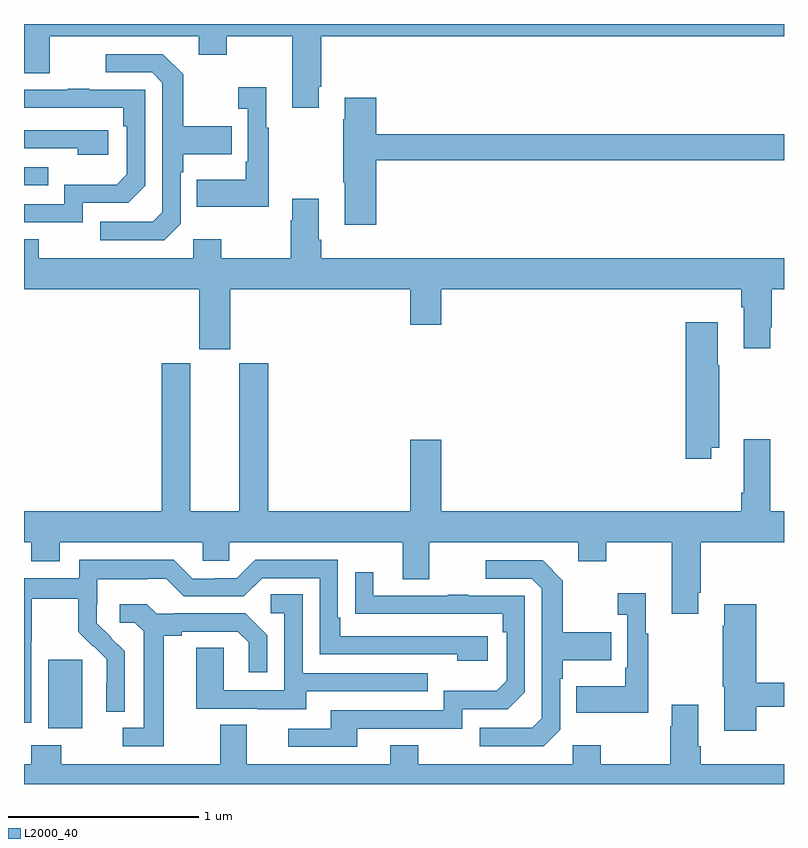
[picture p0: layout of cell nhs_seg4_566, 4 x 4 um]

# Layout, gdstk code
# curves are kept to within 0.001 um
import gdstk
lib = gdstk.Library(unit=1e-6, precision=1e-09)
def R(c, l, rs):  # rectangles x0, y0, x1, y1
    for r in rs: c.add(gdstk.rectangle(r[:2], r[2:], *l))
def P(c, l, *ps):  # polygons
    for p in ps: c.add(gdstk.Polygon(p, *l))
L2000_40 = (2000, 40)

nhs_seg4_566 = lib.new_cell('nhs_seg4_566')
R(nhs_seg4_566, L2000_40, [(139.127,777.194,139.306,777.555), (139,780.051,139.127,780.147)])
P(nhs_seg4_566, L2000_40, [(143,780.9),(139,780.9),(139,780.642),(139.135,780.642),(139.135,780.836),(139.919,780.836),(139.919,780.737),(140.067,780.737),(140.067,780.836),(140.411,780.836),(140.411,780.459),(140.551,780.459),(140.551,780.571),(140.564,780.571),(140.564,780.836),(143,780.836)],
  [(139.824,779.85),(139.824,780.119),(139.837,780.119),(139.837,780.215),(140.093,780.215),(140.093,780.363),(139.837,780.363),(139.837,780.635),(139.731,780.741),(139.431,780.741),(139.431,780.645),(139.674,780.645),(139.728,780.591),(139.728,779.91),(139.677,779.859),(139.401,779.859),(139.401,779.763),(139.737,779.763)],
  [(140.287,780.355),(140.275,780.355),(140.275,780.568),(140.127,780.568),(140.127,780.455),(140.178,780.455),(140.178,780.175),(140.166,780.175),(140.166,780.079),(139.909,780.079),(139.909,779.939),(140.287,779.939)],
  [(139.308,779.958),(139.548,779.958),(139.638,780.048),(139.638,780.555),(139.343,780.555),(139.343,780.56),(139.231,780.56),(139.231,780.555),(139,780.555),(139,780.459),(139.522,780.459),(139.522,780.362),(139.542,780.362),(139.542,780.108),(139.489,780.055),(139.212,780.055),(139.212,779.952),(139,779.952),(139,779.856),(139.308,779.856)],
  [(140.855,780.184),(143,780.184),(143,780.32),(140.855,780.32),(140.855,780.511),(140.687,780.511),(140.687,780.398),(140.68,780.398),(140.68,780.067),(140.687,780.067),(140.687,779.844),(140.855,779.844)],
  [(139.444,780.342),(139,780.342),(139,780.246),(139.283,780.246),(139.283,780.212),(139.444,780.212)],
  [(140.086,779.504),(141.032,779.504),(141.032,779.316),(141.196,779.316),(141.196,779.504),(142.775,779.504),(142.775,779.408),(142.787,779.408),(142.787,779.193),(142.927,779.193),(142.927,779.305),(142.935,779.305),(142.935,779.504),(143,779.504),(143,779.668),(140.564,779.668),(140.564,779.764),(140.551,779.764),(140.551,779.98),(140.411,779.98),(140.411,779.867),(140.404,779.867),(140.404,779.668),(140.037,779.668),(140.037,779.767),(139.89,779.767),(139.89,779.668),(139.077,779.668),(139.077,779.767),(139,779.767),(139,779.504),(139.922,779.504),(139.922,779.187),(140.086,779.187)],
  [(142.618,778.67),(142.659,778.67),(142.659,779.105),(142.651,779.105),(142.651,779.329),(142.484,779.329),(142.484,778.611),(142.618,778.611)],
  [(142.549,777.907),(142.562,777.907),(142.562,778.172),(143,778.172),(143,778.336),(142.927,778.336),(142.927,778.714),(142.787,778.714),(142.787,778.432),(142.775,778.432),(142.775,778.336),(141.196,778.336),(141.196,778.711),(141.032,778.711),(141.032,778.336),(140.285,778.336),(140.285,779.115),(140.132,779.115),(140.132,778.336),(139.876,778.336),(139.876,779.115),(139.724,779.115),(139.724,778.336),(139,778.336),(139,778.172),(139.037,778.172),(139.037,778.073),(139.189,778.073),(139.189,778.172),(139.941,778.172),(139.941,778.074),(140.079,778.074),(140.079,778.172),(140.993,778.172),(140.993,777.978),(141.133,777.978),(141.133,778.172),(141.917,778.172),(141.917,778.073),(142.065,778.073),(142.065,778.172),(142.409,778.172),(142.409,777.795),(142.549,777.795)],
  [(139.038,777.652),(139.041,777.652),(139.041,777.876),(139.285,777.876),(139.285,777.701),(139.362,777.624),(139.365,777.627),(139.436,777.557),(139.436,777.434),(139.434,777.434),(139.434,777.28),(139.53,777.28),(139.53,777.598),(139.384,777.746),(139.384,777.843),(139.386,777.843),(139.386,777.977),(139.649,777.977),(139.649,777.981),(139.749,777.981),(139.842,777.888),(140.157,777.888),(140.253,777.984),(140.556,777.984),(140.556,777.582),(141.281,777.582),(141.281,777.548),(141.442,777.548),(141.442,777.678),(140.665,777.678),(140.665,777.775),(140.652,777.775),(140.652,778.08),(140.217,778.08),(140.121,777.984),(140.003,777.984),(140.003,777.981),(139.887,777.981),(139.787,778.081),(139.29,778.081),(139.29,777.984),(139,777.984),(139,777.223),(139.038,777.223)],
  [(141.822,777.186),(141.822,777.455),(141.835,777.455),(141.835,777.551),(142.091,777.551),(142.091,777.699),(141.835,777.699),(141.835,777.971),(141.729,778.077),(141.429,778.077),(141.429,777.981),(141.672,777.981),(141.726,777.927),(141.726,777.246),(141.675,777.195),(141.399,777.195),(141.399,777.099),(141.735,777.099)],
  [(140.755,777.192),(141.306,777.192),(141.306,777.294),(141.546,777.294),(141.636,777.384),(141.636,777.891),(141.341,777.891),(141.341,777.896),(141.229,777.896),(141.229,777.891),(140.839,777.891),(140.839,778.015),(140.743,778.015),(140.743,777.796),(141.52,777.795),(141.52,777.698),(141.54,777.698),(141.54,777.444),(141.487,777.391),(141.21,777.391),(141.21,777.288),(140.615,777.288),(140.615,777.192),(140.391,777.192),(140.391,777.096),(140.755,777.096)],
  [(142.285,777.691),(142.273,777.691),(142.273,777.904),(142.125,777.904),(142.125,777.791),(142.176,777.791),(142.176,777.511),(142.164,777.511),(142.164,777.415),(141.907,777.415),(141.907,777.275),(142.285,777.275)],
  [(140.485,777.387),(141.125,777.387),(141.125,777.483),(140.466,777.483),(140.466,777.899),(140.298,777.899),(140.298,777.798),(140.37,777.798),(140.37,777.393),(140.052,777.393),(140.052,777.617),(139.907,777.617),(139.907,777.297),(140.231,777.297),(140.231,777.293),(140.485,777.293)],
  [(139.735,777.68),(139.831,777.68),(139.831,777.702),(140.126,777.702),(140.183,777.645),(140.183,777.489),(140.28,777.489),(140.28,777.682),(140.164,777.798),(139.792,777.798),(139.792,777.795),(139.698,777.795),(139.646,777.847),(139.503,777.847),(139.503,777.75),(139.584,777.75),(139.631,777.703),(139.631,777.195),(139.521,777.195),(139.521,777.099),(139.735,777.099)],
  [(142.853,777.306),(143,777.306),(143,777.434),(142.853,777.434),(142.853,777.847),(142.685,777.847),(142.685,777.734),(142.678,777.734),(142.678,777.411),(142.685,777.411),(142.685,777.18),(142.853,777.18)],
  [(143,777.004),(142.562,777.004),(142.562,777.1),(142.549,777.1),(142.549,777.316),(142.409,777.316),(142.409,777.203),(142.402,777.203),(142.402,777.004),(142.035,777.004),(142.035,777.103),(141.888,777.103),(141.888,777.004),(141.075,777.004),(141.075,777.103),(140.927,777.103),(140.927,777.004),(140.173,777.004),(140.173,777.212),(140.033,777.212),(140.033,777.004),(139.197,777.004),(139.197,777.103),(139.037,777.103),(139.037,777.004),(139,777.004),(139,776.9),(143,776.9)])

lib.write_gds('nhs_seg4_566.gds')
